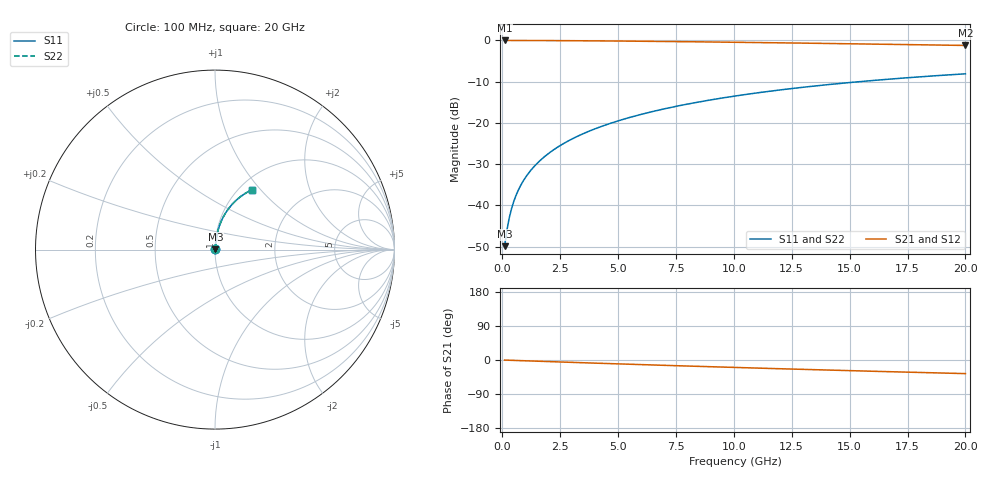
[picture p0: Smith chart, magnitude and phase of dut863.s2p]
! Touchstone file exported from HFSS 2024.1.0
!  File:  C:/UserFiles/LocalFiles/RDL_TSV_Batchsim/temp_RDL_top_863_1779856124.aedt
!  Generated:  12:30:55 PM May 27, 2026
!  Design:  RDL_top
!  Project:  temp_RDL_top_863_1779856124
!  Setup:  Setup1
!  Solution:  Sweep
! Variables:
!  dtsv = 10.80580581um
!  hbump = 3um
!  htsv = 83.65um
!  ldown = 100um
!  lrdl = 460.05um
!  p = 40
!  p1 = 53.51um
!  rhole = 1um
!  t = 450um
!  tdown = 3.915915916um
!  trdl = 4.7um
!  wdown = 15.38538539um
!  wrdl = 15.67um
# GHz S MA R 50.000000
! Terminal data exported
! Port[1] = Box2_T1
! Port[2] = Box2_T2
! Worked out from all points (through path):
!   200 points, 100 MHz to 20 GHz, reference 50 ohm
!   highest |S21| = -0.02 dB at 100 MHz (marker M1); lowest = -1.2 dB at 20 GHz (marker M2)
!   group delay of S21, straight-line fit = 4.97 ps
!   lowest |S11| = -49.9 dB at 100 MHz (marker M3), VSWR 1.01, Z = 50.2 + j0.222 ohm
!   |S11| at or under -10 dB: start of sweep to 15.43 GHz
!   |S22| runs from -49.9 to -8.1 dB; largest |S21 - S12| = 4.8e-15
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0.1  0.003208 43.7  0.9977 -0.2  0.9977 -0.2  0.003208 43.7
! Gamma 0 0 0 0
! Port Impedance 50 0 50 0
0.2  0.005016 61.8  0.9976 -0.4  0.9976 -0.4  0.005016 61.8
0.3  0.007053 69.7  0.9975 -0.6  0.9975 -0.6  0.007053 69.7
0.4  0.009152 73.9  0.9974 -0.9  0.9974 -0.9  0.009152 73.9
0.5  0.01127 76.3  0.9972 -1.1  0.9972 -1.1  0.01127 76.4
0.7  0.01549 79.1  0.997 -1.5  0.997 -1.5  0.0155 79.1
0.8  0.0176 80.0  0.9969 -1.7  0.9969 -1.7  0.0176 80.0
1  0.02179 81.2  0.9966 -2.1  0.9966 -2.1  0.02179 81.2
1.2  0.02597 81.9  0.9963 -2.5  0.9963 -2.5  0.02597 81.9
1.4  0.03015 82.4  0.9959 -2.9  0.9959 -2.9  0.03015 82.4
1.7  0.03641 82.9  0.9952 -3.6  0.9952 -3.6  0.03641 82.9
2  0.04268 83.1  0.9945 -4.2  0.9945 -4.2  0.04268 83.1
2.7  0.05734 83.1  0.9923 -5.6  0.9923 -5.6  0.05734 83.1
3.5  0.07415 82.7  0.9892 -7.3  0.9892 -7.3  0.07415 82.7
4.2  0.0889 82.1  0.986 -8.7  0.986 -8.7  0.08891 82.1
5  0.1058 81.2  0.9819 -10.3  0.9819 -10.3  0.1058 81.2
6.8  0.1438 78.8  0.9713 -13.7  0.9713 -13.7  0.1438 78.8
8.4  0.1774 76.5  0.9606 -16.7  0.9606 -16.7  0.1775 76.5
10.1  0.2126 73.9  0.9484 -19.8  0.9484 -19.8  0.2126 73.9
13.4  0.2782 68.5  0.9229 -25.5  0.9229 -25.5  0.2783 68.6
16.7  0.3388 63.3  0.8958 -30.8  0.8958 -30.8  0.3388 63.3
20  0.3934 58.2  0.8678 -35.9  0.8678 -35.9  0.3935 58.2
